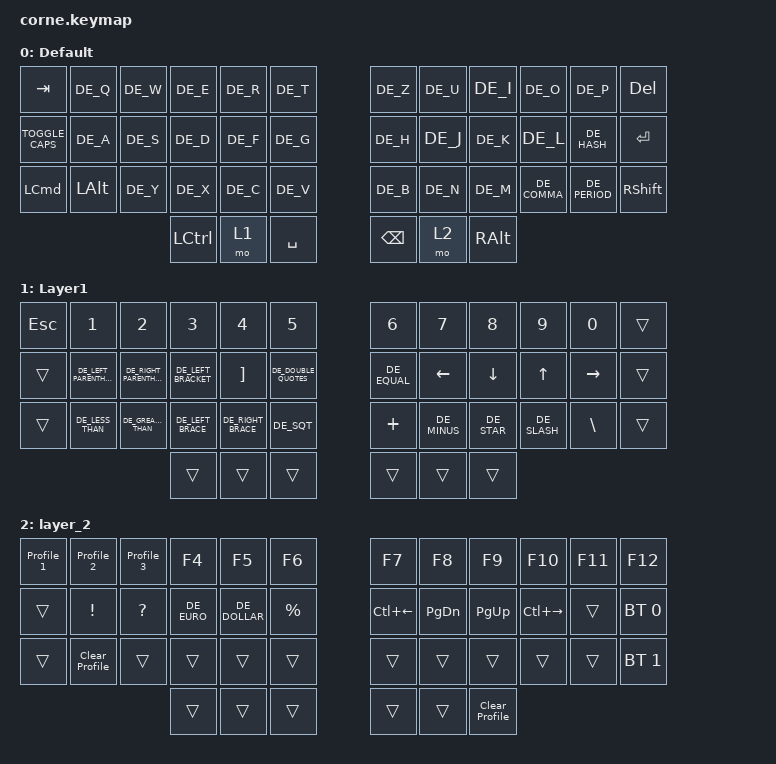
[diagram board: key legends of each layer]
/*
 * Copyright (c) 2020 The ZMK Contributors
 *
 * SPDX-License-Identifier: MIT
 */

#include "keys_de.h"
#include <behaviors.dtsi>
#include <dt-bindings/zmk/bt.h>
#include <dt-bindings/zmk/keys.h>

/ {
    combos {
        compatible = "zmk,combos";

        ae {
            bindings = <&kp DE_A_UMLAUT>;
            key-positions = <13 3>;
        };

        ue {
            bindings = <&kp DE_U_UMLAUT>;
            key-positions = <7 3>;
        };

        oe {
            bindings = <&kp DE_O_UMLAUT>;
            key-positions = <9 3>;
        };

        Enter {
            bindings = <&kp ENTER>;
            key-positions = <12 38>;
        };
    };

    behaviors {
        TOGGLE_CAPS: TOGGLE_CAPS {
            compatible = "zmk,behavior-tap-dance";
            label = "TOGGLE_CAPS";
            #binding-cells = <0>;
            bindings = <&kp LEFT_SHIFT>, <&kp CAPSLOCK>;
        };

        Clear_Profile: Clear_Profile {
            compatible = "zmk,behavior-tap-dance";
            label = "CLEAR_PROFILE";
            #binding-cells = <0>;
            bindings = <&kp RIGHT_ALT>, <&bt BT_CLR>;
        };

        Profile_1: Profile_1 {
            compatible = "zmk,behavior-tap-dance";
            label = "PROFILE_1";
            #binding-cells = <0>;
            bindings = <&kp F1>, <&bt BT_SEL 1>;
        };

        Profile_2: Profile_2 {
            compatible = "zmk,behavior-tap-dance";
            label = "PROFILE_2";
            #binding-cells = <0>;
            bindings = <&kp F2>, <&bt BT_SEL 2>;
        };

        Profile_3: Profile_3 {
            compatible = "zmk,behavior-tap-dance";
            label = "PROFILE_3";
            #binding-cells = <0>;
            bindings = <&kp F3>, <&bt BT_SEL 3>;
        };
    };

    keymap {
        compatible = "zmk,keymap";

        Default {
            bindings = <
&kp TAB           &kp DE_Q      &kp DE_W  &kp DE_E          &kp DE_R  &kp DE_T     &kp DE_Z       &kp DE_U  &kp DE_I       &kp DE_O      &kp DE_P       &kp DELETE
&TOGGLE_CAPS      &kp DE_A      &kp DE_S  &kp DE_D          &kp DE_F  &kp DE_G     &kp DE_H       &kp DE_J  &kp DE_K       &kp DE_L      &kp DE_HASH    &kp ENTER
&kp LEFT_COMMAND  &kp LEFT_ALT  &kp DE_Y  &kp DE_X          &kp DE_C  &kp DE_V     &kp DE_B       &kp DE_N  &kp DE_M       &kp DE_COMMA  &kp DE_PERIOD  &kp RIGHT_SHIFT
                                          &kp LEFT_CONTROL  &mo 1     &kp SPACE    &kp BACKSPACE  &mo 2     &kp RIGHT_ALT
            >;
        };

        Layer1 {
            bindings = <
&kp ESCAPE  &kp N1                   &kp N2                    &kp N3               &kp N4              &kp N5                  &kp N6        &kp N7        &kp N8       &kp N9        &kp N0         &trans
&trans      &kp DE_LEFT_PARENTHESIS  &kp DE_RIGHT_PARENTHESIS  &kp DE_LEFT_BRACKET  &kp RIGHT_BRACKET   &kp DE_DOUBLE_QUOTES    &kp DE_EQUAL  &kp LEFT      &kp DOWN     &kp UP        &kp RIGHT      &trans
&trans      &kp DE_LESS_THAN         &kp DE_GREATER_THAN       &kp DE_LEFT_BRACE    &kp DE_RIGHT_BRACE  &kp DE_SQT              &kp PLUS      &kp DE_MINUS  &kp DE_STAR  &kp DE_SLASH  &kp BACKSLASH  &trans
                                                               &trans               &trans              &trans                  &trans        &trans        &trans
            >;
        };

        layer_2 {
            bindings = <
&Profile_1  &Profile_2      &Profile_3  &kp F4       &kp F5         &kp F6       &kp F7              &kp F8         &kp F9          &kp F10        &kp F11  &kp F12
&trans      &kp EXCL        &kp QMARK   &kp DE_EURO  &kp DE_DOLLAR  &kp PRCNT    &kp LC(LEFT_ARROW)  &kp PAGE_DOWN  &kp PAGE_UP     &kp LC(RIGHT)  &trans   &bt BT_SEL 0
&trans      &Clear_Profile  &trans      &trans       &trans         &trans       &trans              &trans         &trans          &trans         &trans   &bt BT_SEL 1
                                        &trans       &trans         &trans       &trans              &trans         &Clear_Profile
            >;
        };
    };
};
